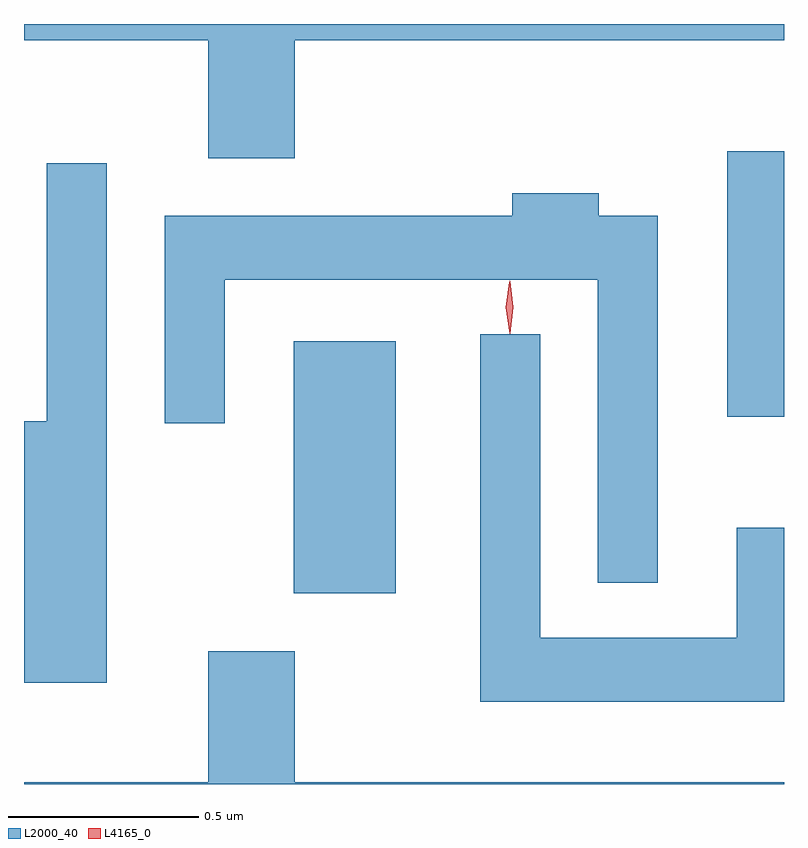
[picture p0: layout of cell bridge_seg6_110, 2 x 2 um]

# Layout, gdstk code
import gdstk
lib = gdstk.Library(unit=1e-6, precision=1e-09)
def R(c, l, rs):  # rectangles x0, y0, x1, y1
    for r in rs: c.add(gdstk.rectangle(r[:2], r[2:], *l))
def P(c, l, *ps):  # polygons
    for p in ps: c.add(gdstk.Polygon(p, *l))
L2000_40 = (2000, 40)
L4165_0 = (4165, 0)

bridge_seg6_110 = lib.new_cell('bridge_seg6_110')
R(bridge_seg6_110, L2000_40, [(1119.176,1666.241,1119.444,1666.904), (1120.316,1666.706,1120.466,1667.404)])
P(bridge_seg6_110, L2000_40, [(1119.179,1667.696),(1120.466,1667.696),(1120.466,1667.739),(1118.466,1667.739),(1118.466,1667.696),(1118.951,1667.696),(1118.951,1667.386),(1119.179,1667.386)],
  [(1118.684,1667.373),(1118.526,1667.373),(1118.526,1666.694),(1118.466,1666.694),(1118.466,1666.006),(1118.684,1666.006)],
  [(1120.134,1667.234),(1119.979,1667.234),(1119.979,1667.294),(1119.751,1667.294),(1119.751,1667.234),(1118.836,1667.234),(1118.836,1666.688),(1118.994,1666.688),(1118.994,1667.066),(1119.976,1667.066),(1119.976,1666.268),(1120.134,1666.268)],
  [(1120.466,1666.414),(1120.341,1666.414),(1120.341,1666.124),(1119.824,1666.124),(1119.824,1666.923),(1119.666,1666.923),(1119.666,1665.956),(1120.466,1665.956)],
  [(1120.466,1665.744),(1119.179,1665.744),(1119.179,1666.089),(1118.951,1666.089),(1118.951,1665.744),(1118.466,1665.744),(1118.466,1665.739),(1120.466,1665.739)])
P(bridge_seg6_110, L4165_0, [(1119.744,1666.924),(1119.744,1666.924),(1119.734,1666.993),(1119.744,1667.062),(1119.744,1667.063),(1119.745,1667.062),(1119.754,1666.993),(1119.745,1666.924)],
  [(1119.744,1666.927),(1119.744,1666.927),(1119.734,1666.994),(1119.743,1667.06),(1119.744,1667.06),(1119.744,1667.06),(1119.754,1666.994),(1119.744,1666.927)])

lib.write_gds('bridge_seg6_110.gds')
